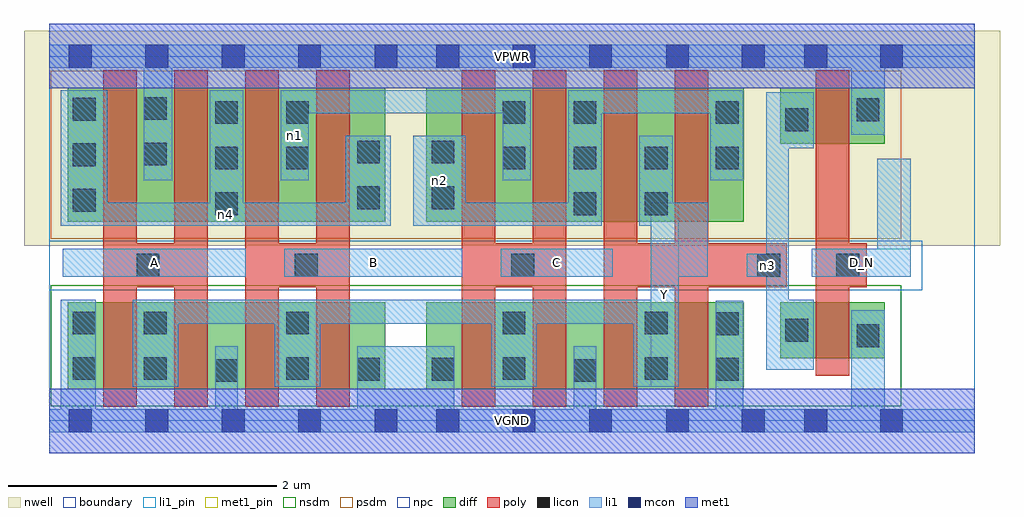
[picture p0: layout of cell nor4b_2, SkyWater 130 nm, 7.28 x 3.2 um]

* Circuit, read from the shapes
.subckt nor4b_2 A B C D_N VGND VPWR Y n1 n2 n3 n4
XM1 Y A VGND VSUBS sky130_fd_pr__nfet_01v8 w=0.65 l=0.25 m=2
XM2 Y B VGND VSUBS sky130_fd_pr__nfet_01v8 w=0.65 l=0.25 m=2
XM3 Y C VGND VSUBS sky130_fd_pr__nfet_01v8 w=0.65 l=0.25 m=2
XM4 Y n3 VGND VSUBS sky130_fd_pr__nfet_01v8 w=0.65 l=0.25 m=2
XM5 VGND D_N n3 VSUBS sky130_fd_pr__nfet_01v8 w=0.42 l=0.25
XM6 VPWR A n4 n5 sky130_fd_pr__pfet_01v8 w=1 l=0.25 m=2
XM7 n1 B n4 n5 sky130_fd_pr__pfet_01v8 w=1 l=0.25 m=2
XM8 n1 C n2 n5 sky130_fd_pr__pfet_01v8 w=1 l=0.25 m=2
XM9 Y n3 n2 n5 sky130_fd_pr__pfet_01v8 w=1 l=0.25 m=2
XM10 VPWR D_N n3 n5 sky130_fd_pr__pfet_01v8 w=0.42 l=0.25
.ends

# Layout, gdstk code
import gdstk
lib = gdstk.Library(unit=1e-6, precision=1e-09)
def R(c, l, rs):  # rectangles x0, y0, x1, y1
    for r in rs: c.add(gdstk.rectangle(r[:2], r[2:], *l))
def A(c, l, x, y, w, h, nx, ny, dx, dy):  # array of equal rectangles
    R(c, l, [(x+i*dx, y+j*dy, x+i*dx+w, y+j*dy+h) for i in range(nx) for j in range(ny)])
nwell = (64, 20)
diff = (65, 20)
poly = (66, 20)
licon = (66, 44)
li1_pin = (67, 16)
li1 = (67, 20)
mcon = (67, 44)
met1_pin = (68, 16)
met1 = (68, 20)
nsdm = (93, 44)
psdm = (94, 20)
npc = (95, 20)
boundary = (235, 4)

nor4b_2 = lib.new_cell('nor4b_2')
R(nor4b_2, nwell, [(-0.19,1.305,7.09,2.91), (0,1.305,6.9,2.91)])
R(nor4b_2, diff, [(0.135,0.235,2.505,0.885), (2.81,0.235,5.18,0.885), (5.45,0.465,6.23,0.885), (0.135,1.485,2.505,2.485), (2.81,1.485,5.18,2.485), (5.45,2.065,6.23,2.485)])
A(nor4b_2, poly, 0.4, 0.105, 0.25, 2.51, 4, 1, 0.53, 0)
A(nor4b_2, poly, 3.075, 0.105, 0.25, 2.51, 4, 1, 0.53, 0)
R(nor4b_2, poly, [(5.715,0.335,5.965,2.615), (0.4,0.995,1.18,1.325), (1.46,0.995,2.24,1.325), (3.075,0.995,3.855,1.325), (4.135,0.995,5.5,1.325), (5.715,0.995,6.095,1.325)])
A(nor4b_2, licon, 1.235, 1.535, 0.17, 0.17, 1, 3, 0, 0.34)
A(nor4b_2, licon, 0.175, 1.56, 0.17, 0.17, 1, 3, 0, 0.34)
A(nor4b_2, licon, 3.38, 1.875, 0.17, 0.17, 4, 1, 0.53, 0)
R(nor4b_2, licon, [(1.235,0.29,1.405,0.46), (3.91,0.29,4.08,0.46), (2.295,0.3,2.465,0.47), (2.85,0.3,3.02,0.47), (4.97,0.3,5.14,0.47), (0.175,0.305,0.345,0.475), (0.705,0.305,0.875,0.475), (1.765,0.305,1.935,0.475), (3.38,0.305,3.55,0.475), (4.44,0.305,4.61,0.475), (6.02,0.55,6.19,0.72), (5.49,0.59,5.66,0.76), (4.97,0.64,5.14,0.81), (0.175,0.645,0.345,0.815), (0.705,0.645,0.875,0.815), (1.765,0.645,1.935,0.815), (3.38,0.645,3.55,0.815), (4.44,0.645,4.61,0.815), (0.65,1.075,0.82,1.245), (1.83,1.075,2,1.245), (3.445,1.075,3.615,1.245), (5.28,1.075,5.45,1.245), (5.87,1.075,6.04,1.245), (3.91,1.535,4.08,1.705), (4.44,1.535,4.61,1.705), (2.295,1.58,2.465,1.75), (2.85,1.58,3.02,1.75), (1.765,1.875,1.935,2.045), (0.705,1.905,0.875,2.075), (2.295,1.92,2.465,2.09), (2.85,1.92,3.02,2.09), (5.49,2.16,5.66,2.33), (1.765,2.215,1.935,2.385), (3.38,2.215,3.55,2.385), (3.91,2.215,4.08,2.385), (4.97,2.215,5.14,2.385), (6.02,2.235,6.19,2.405), (0.705,2.245,0.875,2.415)])
R(nor4b_2, li1_pin, [(4.485,0.255,4.695,1.625), (0.1,1.075,1.465,1.285), (1.75,1.075,3.08,1.285), (3.365,1.075,4.2,1.285), (5.685,1.075,6.425,1.285)])
R(nor4b_2, li1, [(0,-0.085,6.9,0.085), (0.085,-0.085,0.345,0.905), (1.235,-0.085,1.405,0.555), (2.295,-0.085,3.02,0.555), (3.91,-0.085,4.08,0.555), (4.97,-0.085,5.175,0.895), (5.98,-0.085,6.23,0.825), (0.62,0.255,0.96,0.905), (1.68,0.255,2.02,0.905), (3.295,0.255,3.635,0.905), (4.355,0.255,4.695,0.905), (4.485,0.255,4.695,1.625), (5.345,0.38,5.515,2.45), (5.345,0.38,5.7,0.905), (0.62,0.725,4.695,0.905), (0.1,1.075,1.465,1.285), (1.75,1.075,3.08,1.285), (3.365,1.075,4.2,1.285), (4.485,1.075,4.91,1.625), (5.2,1.075,5.515,1.245), (5.685,1.075,6.425,1.285), (6.175,1.075,6.425,1.955), (0.085,1.455,2.545,1.625), (0.085,1.455,0.43,2.465), (1.195,1.455,1.445,2.465), (2.21,1.455,2.545,2.125), (2.715,1.455,3.105,2.125), (2.715,1.455,4.12,1.625), (3.87,1.455,4.12,2.465), (4.4,1.455,4.65,2.125), (0.705,1.795,0.915,2.805), (1.725,1.795,1.935,2.465), (3.38,1.795,3.59,2.465), (4.93,1.795,5.175,2.465), (5.345,2.035,5.7,2.45), (5.98,2.135,6.23,2.805), (1.725,2.295,3.59,2.465), (3.87,2.295,5.175,2.465), (0,2.635,6.9,2.805)])
A(nor4b_2, mcon, 0.145, -0.085, 0.17, 0.17, 5, 2, 0.57, 2.72)
A(nor4b_2, mcon, 2.885, -0.085, 0.17, 0.17, 3, 2, 0.57, 2.72)
R(nor4b_2, mcon, [(4.6,-0.085,4.77,0.085), (5.165,-0.085,5.335,0.085), (5.63,-0.085,5.8,0.085), (6.195,-0.085,6.365,0.085), (4.6,2.635,4.77,2.805), (5.165,2.635,5.335,2.805), (5.63,2.635,5.8,2.805), (6.195,2.635,6.365,2.805)])
R(nor4b_2, met1_pin, [(0,-0.24,6.9,0.24), (0,2.48,6.9,2.96)])
R(nor4b_2, met1, [(0,-0.24,6.9,0.24), (0,2.48,6.9,2.96)])
R(nor4b_2, nsdm, [(0.01,0.11,6.355,1.01)])
R(nor4b_2, psdm, [(0.01,1.36,6.355,2.61)])
R(nor4b_2, npc, [(0,0.975,6.51,1.345)])
R(nor4b_2, boundary, [(0,0,6.9,2.72)])
nor4b_2.add(gdstk.Label('A', (0.782,1.18), layer=67, texttype=5))
nor4b_2.add(gdstk.Label('B', (2.415,1.18), layer=67, texttype=5))
nor4b_2.add(gdstk.Label('C', (3.782,1.18), layer=67, texttype=5))
nor4b_2.add(gdstk.Label('D_N', (6.055,1.18), layer=67, texttype=5))
nor4b_2.add(gdstk.Label('Y', (4.59,0.94), layer=67, texttype=5))
nor4b_2.add(gdstk.Label('n3', (5.357,1.16), layer=67, texttype=5))
nor4b_2.add(gdstk.Label('n4', (1.315,1.54), layer=67, texttype=5))
nor4b_2.add(gdstk.Label('n1', (1.83,2.13), layer=67, texttype=5))
nor4b_2.add(gdstk.Label('n2', (2.91,1.79), layer=67, texttype=5))
nor4b_2.add(gdstk.Label('VPWR', (3.45,2.72), layer=68, texttype=5))
nor4b_2.add(gdstk.Label('VGND', (3.45,0), layer=68, texttype=5))
nor4b_2.add(gdstk.Label('A', (0.782,1.18), layer=67, texttype=16))
nor4b_2.add(gdstk.Label('B', (2.415,1.18), layer=67, texttype=16))
nor4b_2.add(gdstk.Label('C', (3.782,1.18), layer=67, texttype=16))
nor4b_2.add(gdstk.Label('D_N', (6.055,1.18), layer=67, texttype=16))
nor4b_2.add(gdstk.Label('Y', (4.59,0.94), layer=67, texttype=16))
nor4b_2.add(gdstk.Label('VPWR', (3.45,2.72), layer=68, texttype=16))
nor4b_2.add(gdstk.Label('VGND', (3.45,0), layer=68, texttype=16))

lib.write_gds('nor4b_2.gds')
